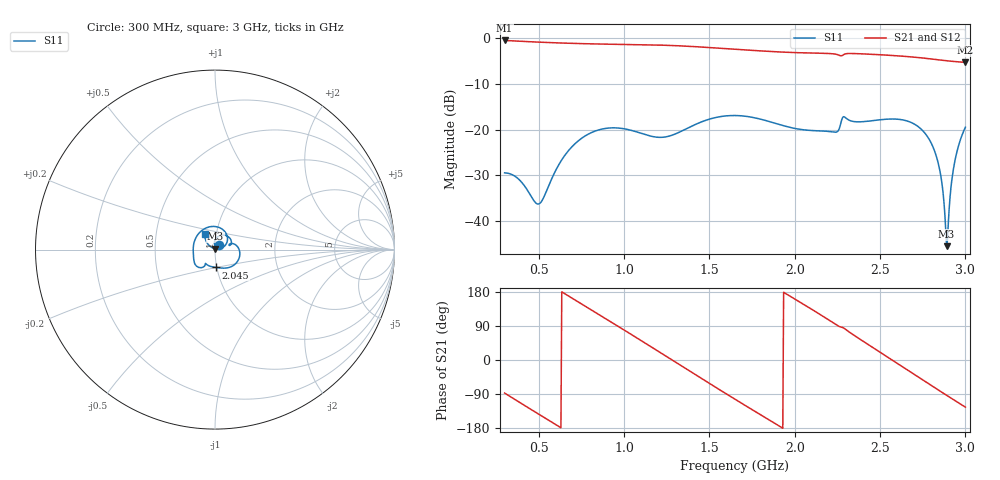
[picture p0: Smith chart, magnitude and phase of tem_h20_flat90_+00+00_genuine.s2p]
! tem_h20_flat90_+00+00_genuine
! simulated by sim/fixtures_fdtd.py (S12 = S21, S22 not computed)
# HZ S RI R 50
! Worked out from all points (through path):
!   541 points, 300 MHz to 3 GHz, reference 50 ohm
!   highest |S21| = -0.48 dB at 300 MHz (marker M1); lowest = -5.3 dB at 3 GHz (marker M2)
!   group delay of S21, straight-line fit = 776 ps
!   lowest |S11| = -45.6 dB at 2.89 GHz (marker M3), VSWR 1.01, Z = 50.2 + j0.481 ohm
!   |S11| at or under -10 dB: start of sweep to end of sweep
!   |S22| runs from - to - dB; largest |S21 - S12| = 0
!   S11 on the Smith chart (normalised r, x): 300 MHz: 1.05, +0.05; 2.045 GHz: 0.99, -0.20; 3 GHz: 0.88, +0.16
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3e8  0.024 0.0234  0.0457 -0.9456  0.0457 -0.9456  0 0
5e8  0.00763 0.0133  -0.7247 -0.5458  -0.7247 -0.5458  0 0
6.25e8  -0.00267 0.0434  -0.8875 -0.0395  -0.8875 -0.0395  0 0
7.5e8  0.0236 0.0763  -0.7429 0.4604  -0.7429 0.4604  0 0
8.65e8  0.0646 0.0772  -0.3869 0.773  -0.3869 0.773  0 0
9.75e8  0.0891 0.0528  0.0572 0.8559  0.0572 0.8559  0 0
1.08e9  0.0888 0.0293  0.4657 0.7137  0.4657 0.7137  0 0
1.2e9  0.0786 0.0242  0.7759 0.3298  0.7759 0.3298  0 0
1.32e9  0.0867 0.0333  0.812 -0.1584  0.812 -0.1584  0 0
1.455e9  0.1195 0.0228  0.5235 -0.6067  0.5235 -0.6067  0 0
1.65e9  0.133 -0.0511  -0.1769 -0.737  -0.1769 -0.737  0 0
1.855e9  0.0663 -0.1021  -0.6724 -0.25  -0.6724 -0.25  0 0
2.045e9  0.00666 -0.0996  -0.5929 0.3589  -0.5929 0.3589  0 0
2.1e9  -0.0106 -0.097  -0.4762 0.4984  -0.4762 0.4984  0 0
2.32e9  -0.1193 -0.0411  0.1924 0.654  0.1924 0.654  0 0
2.55e9  -0.0557 0.1177  0.6486 0.067  0.6486 0.067  0 0
2.66e9  0.0291 0.1204  0.5651 -0.2797  0.5651 -0.2797  0 0
2.795e9  0.0646 0.0359  0.2431 -0.5433  0.2431 -0.5433  0 0
2.85e9  0.0349 0.0078  0.083 -0.5727  0.083 -0.5727  0 0
2.89e9  0.00222 0.00479  -0.0311 -0.5665  -0.0311 -0.5665  0 0
2.935e9  -0.034 0.0246  -0.1521 -0.5353  -0.1521 -0.5353  0 0
3e9  -0.0578 0.0889  -0.3082 -0.4491  -0.3082 -0.4491  0 0
